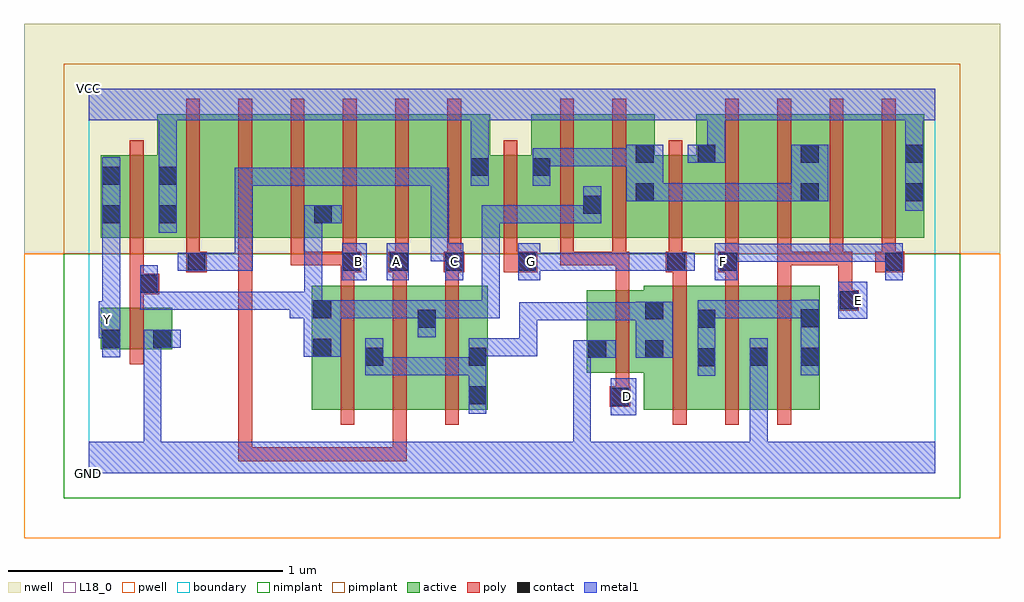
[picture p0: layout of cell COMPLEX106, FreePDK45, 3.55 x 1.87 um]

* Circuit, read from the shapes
.subckt COMPLEX106 A B C D E F G GND VCC Y
M1 GND n1 Y VSUBS nfet w=0.15u l=0.05u
M2 n2 B n1 VSUBS nfet w=0.45u l=0.05u
M3 n1 A n2 VSUBS nfet w=0.45u l=0.05u
M4 n2 C n1 VSUBS nfet w=0.45u l=0.05u
M5 n2 D GND VSUBS nfet w=0.3u l=0.05u
M6 n3 G n2 VSUBS nfet w=0.45u l=0.05u
M7 GND F n3 VSUBS nfet w=0.45u l=0.05u
M8 n3 E GND VSUBS nfet w=0.45u l=0.05u
M9 VCC n1 Y n4 pfet w=0.3u l=0.05u
M10 n5 C VCC n4 pfet w=0.45u l=0.05u
M11 n6 A n5 n4 pfet w=0.45u l=0.05u
M12 n1 B n6 n4 pfet w=0.45u l=0.05u
M13 n7 B n1 n4 pfet w=0.45u l=0.05u
M14 n8 A n7 n4 pfet w=0.45u l=0.05u
M15 VCC C n8 n4 pfet w=0.45u l=0.05u
M16 n9 G VCC n4 pfet w=0.3u l=0.05u m=2
M17 n1 D n9 n4 pfet w=0.45u l=0.05u m=2
M18 n10 F VCC n4 pfet w=0.45u l=0.05u
M19 n9 E n10 n4 pfet w=0.45u l=0.05u
M20 n11 E n9 n4 pfet w=0.45u l=0.05u
M21 VCC F n11 n4 pfet w=0.45u l=0.05u
.ends

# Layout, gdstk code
import gdstk
lib = gdstk.Library(unit=1e-6, precision=1e-09)
def R(c, l, rs):  # rectangles x0, y0, x1, y1
    for r in rs: c.add(gdstk.rectangle(r[:2], r[2:], *l))
def A(c, l, x, y, w, h, nx, ny, dx, dy):  # array of equal rectangles
    R(c, l, [(x+i*dx, y+j*dy, x+i*dx+w, y+j*dy+h) for i in range(nx) for j in range(ny)])
active = (1, 0)
pwell = (2, 0)
nwell = (3, 0)
nimplant = (4, 0)
pimplant = (5, 0)
poly = (9, 0)
contact = (10, 0)
metal1 = (11, 0)
L18_0 = (18, 0)
boundary = (235, 0)

complex106 = lib.new_cell('COMPLEX106')
R(complex106, active, [(0.812,0.232,1.077,0.682), (0.812,0.232,0.887,0.682), (1.002,0.232,1.267,0.682), (1.002,0.232,1.077,0.587), (1.192,0.232,1.452,0.682), (1.377,0.232,1.452,0.682), (2.02,0.232,2.285,0.682), (2.21,0.232,2.475,0.682), (2.21,0.232,2.285,0.682), (2.4,0.232,2.66,0.682), (2.4,0.257,2.475,0.547), (2.585,0.257,2.66,0.682), (2.02,0.29,2.095,0.63), (1.192,0.295,1.267,0.682), (1.812,0.367,2.095,0.667), (1.812,0.367,1.887,0.625), (0.045,0.452,0.12,0.602), (0.045,0.452,0.305,0.602), (0.23,0.452,0.305,0.602), (0.045,0.857,0.12,1.155), (0.045,0.857,0.325,1.157), (0.25,0.857,0.475,1.307), (0.25,0.857,0.325,1.155), (0.475,0.857,0.665,1.307), (0.665,0.857,0.89,1.307), (0.815,0.857,1.045,1.307), (0.815,0.857,0.89,1.07), (1.045,0.857,1.235,1.307), (1.235,0.857,1.46,1.307), (1.385,0.857,1.685,1.157), (1.385,0.857,1.46,1.155), (1.61,0.857,1.87,1.307), (1.61,0.857,1.685,1.2), (1.795,0.857,2.06,1.307), (1.795,0.857,1.87,1.07), (1.985,0.857,2.06,1.2), (1.985,0.857,2.285,1.157), (2.21,0.857,2.435,1.307), (2.435,0.857,2.66,1.307), (2.585,0.857,2.815,1.307), (2.585,0.857,2.66,1.2), (2.815,0.857,3.04,1.307), (2.965,0.857,3.04,1.307), (2.21,0.935,2.285,1.307)])
R(complex106, pwell, [(-0.235,-0.235,3.315,0.8)])
R(complex106, nwell, [(-0.235,0.8,3.315,1.635)])
R(complex106, nimplant, [(-0.09,-0.09,3.17,0.8)])
R(complex106, pimplant, [(-0.09,0.8,3.17,1.49)])
A(complex106, poly, 0.917, 0.177, 0.05, 0.56, 3, 1, 0.19, 0)
A(complex106, poly, 2.125, 0.177, 0.05, 0.56, 3, 1, 0.19, 0)
A(complex106, poly, 0.917, 0.687, 0.05, 0.095, 3, 1, 0.19, 0)
A(complex106, poly, 0.735, 0.757, 0.05, 0.095, 4, 1, 0.19, 0)
A(complex106, poly, 1.905, 0.757, 0.05, 0.095, 3, 1, 0.205, 0)
A(complex106, poly, 2.505, 0.757, 0.05, 0.095, 3, 1, 0.19, 0)
A(complex106, poly, 0.355, 0.802, 0.05, 0.56, 6, 1, 0.19, 0)
A(complex106, poly, 2.315, 0.802, 0.05, 0.56, 4, 1, 0.19, 0)
R(complex106, poly, [(0.545,0.045,0.595,0.095), (0.545,0.045,0.595,0.095), (0.545,0.045,0.595,0.095), (0.545,0.045,0.595,0.095), (0.545,0.045,0.595,0.095), (0.545,0.045,0.595,0.095), (0.545,0.045,0.595,0.095), (0.545,0.045,0.762,0.095), (0.545,0.045,0.595,0.852), (0.712,0.045,0.762,0.095), (0.712,0.045,0.762,0.095), (0.712,0.045,0.762,0.095), (0.712,0.045,0.762,0.095), (0.712,0.045,0.762,0.095), (0.712,0.045,0.762,0.095), (0.712,0.045,0.762,0.095), (0.712,0.045,0.762,0.095), (0.712,0.045,0.762,0.095), (0.712,0.045,0.985,0.095), (0.935,0.045,0.985,0.095), (0.935,0.045,1.157,0.095), (1.107,0.045,1.157,0.095), (1.107,0.045,1.157,0.095), (1.107,0.045,1.157,0.095), (1.107,0.045,1.157,0.227), (1.895,0.242,1.97,0.317), (1.917,0.267,1.967,0.362), (1.917,0.312,1.967,0.722), (0.15,0.397,0.2,0.657), (2.727,0.592,2.802,0.667), (0.15,0.607,0.2,0.702), (2.727,0.617,2.777,0.807), (0.15,0.652,0.257,0.727), (1.917,0.672,1.967,0.807), (0.15,0.677,0.2,0.852), (2.125,0.687,2.175,0.782), (2.315,0.687,2.365,0.782), (2.505,0.687,2.555,0.807), (0.355,0.732,0.43,0.807), (0.917,0.732,0.992,0.807), (1.09,0.732,1.165,0.807), (1.292,0.732,1.367,0.807), (1.51,0.732,1.632,0.807), (2.1,0.732,2.175,0.807), (2.29,0.732,2.365,0.807), (2.862,0.732,2.967,0.807), (0.355,0.757,0.405,0.852), (0.735,0.757,0.785,0.807), (0.735,0.757,0.785,0.807), (0.735,0.757,0.785,0.807), (0.735,0.757,0.967,0.807), (1.51,0.757,1.56,0.852), (1.715,0.757,1.765,0.852), (1.715,0.757,1.765,0.807), (1.715,0.757,1.955,0.807), (1.905,0.757,1.955,0.807), (1.905,0.757,1.955,0.807), (1.905,0.757,1.967,0.807), (2.505,0.757,2.555,0.807), (2.505,0.757,2.555,0.807), (2.505,0.757,2.555,0.807), (2.505,0.757,2.745,0.807), (2.695,0.757,2.777,0.807), (2.727,0.757,2.777,0.807), (2.727,0.757,2.777,0.807), (0.15,0.802,0.2,1.212), (1.51,0.802,1.56,1.212), (1.715,0.802,1.765,1.362), (1.905,0.802,1.955,1.362), (2.11,0.802,2.16,1.212)])
R(complex106, contact, [(1.9,0.247,1.965,0.312), (1.382,0.252,1.447,0.317), (2.215,0.39,2.28,0.455), (1.007,0.392,1.072,0.457), (1.382,0.392,1.447,0.457), (2.405,0.392,2.47,0.457), (2.59,0.392,2.655,0.457), (1.817,0.42,1.882,0.485), (2.025,0.42,2.09,0.485), (0.817,0.425,0.882,0.49), (0.05,0.457,0.115,0.522), (0.235,0.457,0.3,0.522), (1.197,0.53,1.262,0.595), (2.215,0.53,2.28,0.595), (2.59,0.532,2.655,0.597), (2.025,0.56,2.09,0.625), (0.817,0.565,0.882,0.63), (2.732,0.597,2.797,0.662), (0.187,0.657,0.252,0.722), (0.36,0.737,0.425,0.802), (0.922,0.737,0.987,0.802), (1.095,0.737,1.16,0.802), (1.297,0.737,1.362,0.802), (1.562,0.737,1.627,0.802), (2.105,0.737,2.17,0.802), (2.295,0.737,2.36,0.802), (2.897,0.737,2.962,0.802), (0.05,0.91,0.115,0.975), (0.255,0.91,0.32,0.975), (0.82,0.91,0.885,0.975), (1.8,0.945,1.865,1.01), (1.99,0.99,2.055,1.055), (2.59,0.99,2.655,1.055), (2.97,0.99,3.035,1.055), (0.05,1.05,0.115,1.115), (0.255,1.05,0.32,1.115), (1.39,1.082,1.455,1.147), (1.615,1.082,1.68,1.147), (1.99,1.13,2.055,1.195), (2.215,1.13,2.28,1.195), (2.59,1.13,2.655,1.195), (2.97,1.13,3.035,1.195)])
R(complex106, metal1, [(0,0,3.08,0.115), (0.2,0.05,0.265,0.115), (0.2,0.05,0.265,0.115), (0.2,0.05,0.265,0.145), (1.762,0.05,1.827,0.115), (1.762,0.05,1.827,0.115), (1.762,0.05,1.827,0.485), (2.405,0.05,2.47,0.115), (2.405,0.05,2.47,0.115), (2.405,0.05,2.47,0.422), (0.2,0.08,0.265,0.145), (0.2,0.08,0.265,0.522), (1.9,0.212,1.992,0.347), (1.382,0.217,1.447,0.492), (2.215,0.355,2.28,0.63), (1.007,0.357,1.072,0.492), (1.007,0.357,1.21,0.422), (1.145,0.357,1.21,0.422), (1.145,0.357,1.21,0.422), (1.145,0.357,1.21,0.422), (1.145,0.357,1.447,0.422), (1.382,0.357,1.447,0.422), (1.382,0.357,1.447,0.422), (2.405,0.357,2.47,0.492), (2.405,0.357,2.47,0.422), (2.405,0.357,2.47,0.422), (2.59,0.357,2.655,0.632), (1.762,0.42,1.827,0.485), (1.762,0.42,1.827,0.485), (1.762,0.42,1.827,0.485), (1.762,0.42,1.827,0.485), (1.762,0.42,1.917,0.485), (1.99,0.42,2.125,0.625), (0.05,0.422,0.115,0.557), (0.782,0.425,0.917,0.63), (1.382,0.427,1.632,0.492), (1.567,0.427,1.632,0.492), (1.567,0.427,1.632,0.492), (1.567,0.427,1.632,0.492), (1.567,0.427,1.632,0.622), (0.2,0.457,0.265,0.522), (0.2,0.457,0.265,0.522), (0.2,0.457,0.265,0.522), (0.2,0.457,0.265,0.522), (0.2,0.457,0.335,0.522), (0.037,0.492,0.115,0.627), (0.05,0.492,0.115,0.557), (1.197,0.495,1.262,0.63), (1.567,0.557,1.632,0.622), (1.567,0.557,1.817,0.622), (1.752,0.557,1.817,0.622), (1.752,0.557,1.817,0.622), (1.752,0.557,1.817,0.622), (1.752,0.557,1.965,0.622), (1.9,0.557,1.965,0.622), (1.9,0.557,2.055,0.622), (0.05,0.562,0.115,0.94), (2.727,0.562,2.832,0.697), (0.732,0.565,0.847,0.63), (0.732,0.565,0.797,0.66), (0.785,0.565,0.85,0.63), (0.785,0.565,0.85,0.63), (0.785,0.565,0.85,0.975), (0.852,0.565,0.935,0.63), (0.87,0.565,0.935,0.63), (0.87,0.565,1.055,0.63), (0.99,0.565,1.055,0.63), (0.99,0.565,1.15,0.63), (1.085,0.565,1.15,0.63), (1.085,0.565,1.262,0.63), (1.197,0.565,1.447,0.63), (1.382,0.565,1.447,0.63), (1.382,0.565,1.495,0.63), (1.43,0.565,1.495,0.63), (1.43,0.565,1.495,0.63), (1.43,0.565,1.495,0.63), (1.43,0.565,1.495,0.975), (2.215,0.565,2.44,0.63), (2.375,0.565,2.44,0.63), (2.375,0.565,2.482,0.63), (2.417,0.565,2.482,0.63), (2.417,0.565,2.655,0.63), (2.59,0.565,2.655,0.63), (2.59,0.565,2.655,0.63), (0.187,0.595,0.252,0.66), (0.187,0.595,0.46,0.66), (0.187,0.595,0.252,0.687), (0.395,0.595,0.46,0.66), (0.395,0.595,0.46,0.66), (0.395,0.595,0.46,0.66), (0.395,0.595,0.597,0.66), (0.532,0.595,0.597,0.66), (0.532,0.595,0.597,0.66), (0.532,0.595,0.597,0.66), (0.532,0.595,0.797,0.66), (0.187,0.622,0.252,0.757), (0.187,0.622,0.252,0.687), (0.187,0.622,0.252,0.687), (0.922,0.702,1.012,0.837), (1.085,0.702,1.165,0.837), (1.297,0.702,1.362,0.837), (1.562,0.702,1.642,0.837), (2.277,0.702,2.36,0.837), (2.897,0.702,2.962,0.837), (0.325,0.737,0.46,0.802), (0.395,0.737,0.46,0.802), (0.395,0.737,0.46,0.802), (0.395,0.737,0.46,0.802), (0.395,0.737,0.46,0.802), (0.395,0.737,0.597,0.802), (0.532,0.737,0.597,0.802), (0.532,0.737,0.597,0.802), (0.532,0.737,0.597,0.802), (0.532,0.737,0.597,1.112), (1.577,0.737,1.642,0.802), (1.577,0.737,1.642,0.802), (1.577,0.737,1.827,0.802), (1.762,0.737,1.997,0.802), (1.762,0.737,1.827,0.802), (1.762,0.737,1.827,0.802), (1.762,0.737,1.827,0.802), (1.932,0.737,1.997,0.802), (1.932,0.737,1.997,0.802), (1.932,0.737,1.997,0.802), (1.932,0.737,2.135,0.802), (2.07,0.737,2.205,0.802), (2.295,0.77,2.417,0.835), (2.352,0.77,2.417,0.835), (2.352,0.77,2.637,0.835), (2.572,0.77,2.637,0.835), (2.572,0.77,2.637,0.835), (2.572,0.77,2.637,0.835), (2.572,0.77,2.792,0.835), (2.727,0.77,2.962,0.835), (2.727,0.77,2.792,0.835), (2.727,0.77,2.792,0.835), (2.727,0.77,2.792,0.835), (1.245,0.772,1.31,0.837), (1.245,0.772,1.362,0.837), (1.245,0.772,1.31,1.112), (0.05,0.875,0.115,1.15), (0.255,0.875,0.32,1.15), (0.785,0.91,0.92,0.975), (1.43,0.91,1.495,0.975), (1.43,0.91,1.632,0.975), (1.567,0.91,1.632,0.975), (1.567,0.91,1.632,0.975), (1.567,0.91,1.632,0.975), (1.567,0.91,1.78,0.975), (1.715,0.91,1.78,0.975), (1.715,0.91,1.865,0.975), (1.8,0.91,1.865,1.045), (2.97,0.955,3.035,1.23), (1.955,0.99,2.09,1.195), (2.025,0.99,2.09,1.055), (2.025,0.99,2.09,1.055), (2.025,0.99,2.142,1.055), (2.077,0.99,2.142,1.055), (2.077,0.99,2.28,1.055), (2.215,0.99,2.28,1.055), (2.215,0.99,2.28,1.055), (2.215,0.99,2.28,1.055), (2.215,0.99,2.417,1.055), (2.352,0.99,2.417,1.055), (2.352,0.99,2.62,1.055), (2.555,0.99,2.62,1.055), (2.555,0.99,2.62,1.055), (2.555,0.99,2.69,1.195), (0.532,1.047,0.597,1.112), (0.532,1.047,0.735,1.112), (0.67,1.047,0.735,1.112), (0.67,1.047,0.735,1.112), (0.67,1.047,0.735,1.112), (0.67,1.047,0.935,1.112), (0.87,1.047,0.935,1.112), (0.87,1.047,1.072,1.112), (1.007,1.047,1.072,1.112), (1.007,1.047,1.072,1.112), (1.007,1.047,1.072,1.112), (1.007,1.047,1.072,1.112), (1.007,1.047,1.072,1.112), (1.007,1.047,1.31,1.112), (1.245,1.047,1.31,1.112), (1.39,1.047,1.455,1.182), (1.615,1.047,1.68,1.182), (0.255,1.085,0.32,1.35), (1.39,1.117,1.455,1.35), (1.615,1.117,1.817,1.182), (1.752,1.117,1.817,1.182), (1.752,1.117,1.817,1.182), (1.752,1.117,1.817,1.182), (1.752,1.117,1.965,1.182), (1.9,1.117,1.965,1.182), (1.9,1.117,2.02,1.182), (2.18,1.13,2.315,1.195), (2.25,1.13,2.315,1.35), (2.97,1.165,3.035,1.35), (0,1.285,3.08,1.4)])
R(complex106, L18_0, [(0,0,3.08,0.115), (0.2,0.05,0.265,0.115), (0.2,0.05,0.265,0.115), (0.2,0.05,0.265,0.145), (1.762,0.05,1.827,0.115), (1.762,0.05,1.827,0.115), (1.762,0.05,1.827,0.485), (2.405,0.05,2.47,0.115), (2.405,0.05,2.47,0.115), (2.405,0.05,2.47,0.422), (0.2,0.08,0.265,0.145), (0.2,0.08,0.265,0.522), (1.9,0.212,1.992,0.347), (1.927,0.247,1.992,0.312), (2.405,0.357,2.47,0.492), (2.405,0.357,2.47,0.422), (2.405,0.357,2.47,0.422), (1.762,0.42,1.827,0.485), (1.762,0.42,1.827,0.485), (1.762,0.42,1.827,0.485), (1.762,0.42,1.827,0.485), (1.762,0.42,1.917,0.485), (0.05,0.422,0.115,0.557), (0.2,0.457,0.265,0.522), (0.2,0.457,0.265,0.522), (0.2,0.457,0.265,0.522), (0.2,0.457,0.265,0.522), (0.2,0.457,0.335,0.522), (0.037,0.492,0.115,0.627), (0.05,0.492,0.115,0.557), (0.037,0.527,0.102,0.592), (0.05,0.562,0.115,0.94), (2.727,0.562,2.832,0.697), (2.767,0.597,2.832,0.662), (0.922,0.702,1.012,0.837), (1.085,0.702,1.165,0.837), (1.297,0.702,1.362,0.837), (1.562,0.702,1.642,0.837), (2.277,0.702,2.36,0.837), (2.897,0.702,2.962,0.837), (0.325,0.737,0.46,0.802), (0.395,0.737,0.46,0.802), (0.395,0.737,0.46,0.802), (0.395,0.737,0.46,0.802), (0.395,0.737,0.46,0.802), (0.395,0.737,0.597,0.802), (0.532,0.737,0.597,0.802), (0.532,0.737,0.597,0.802), (0.532,0.737,0.597,0.802), (0.532,0.737,0.597,1.112), (0.947,0.737,1.012,0.802), (1.087,0.737,1.152,0.802), (1.297,0.737,1.362,0.802), (1.577,0.737,1.642,0.802), (1.577,0.737,1.642,0.802), (1.577,0.737,1.642,0.802), (1.577,0.737,1.827,0.802), (1.762,0.737,1.827,0.802), (1.762,0.737,1.827,0.802), (1.762,0.737,1.827,0.802), (1.762,0.737,1.997,0.802), (1.932,0.737,1.997,0.802), (1.932,0.737,1.997,0.802), (1.932,0.737,1.997,0.802), (1.932,0.737,2.135,0.802), (2.07,0.737,2.205,0.802), (2.277,0.737,2.342,0.802), (2.295,0.77,2.417,0.835), (2.352,0.77,2.417,0.835), (2.352,0.77,2.637,0.835), (2.572,0.77,2.637,0.835), (2.572,0.77,2.637,0.835), (2.572,0.77,2.637,0.835), (2.572,0.77,2.792,0.835), (2.727,0.77,2.792,0.835), (2.727,0.77,2.792,0.835), (2.727,0.77,2.792,0.835), (2.727,0.77,2.962,0.835), (1.245,0.772,1.31,0.837), (1.245,0.772,1.31,1.112), (1.245,0.772,1.362,0.837), (0.05,0.875,0.115,1.15), (0.255,0.875,0.32,1.15), (2.97,0.955,3.035,1.23), (0.532,1.047,0.597,1.112), (0.532,1.047,0.735,1.112), (0.67,1.047,0.735,1.112), (0.67,1.047,0.735,1.112), (0.67,1.047,0.735,1.112), (0.67,1.047,0.935,1.112), (0.87,1.047,0.935,1.112), (0.87,1.047,1.072,1.112), (1.007,1.047,1.072,1.112), (1.007,1.047,1.072,1.112), (1.007,1.047,1.072,1.112), (1.007,1.047,1.072,1.112), (1.007,1.047,1.072,1.112), (1.007,1.047,1.31,1.112), (1.245,1.047,1.31,1.112), (1.39,1.047,1.455,1.182), (0.255,1.085,0.32,1.35), (1.39,1.117,1.455,1.35), (2.18,1.13,2.315,1.195), (2.25,1.13,2.315,1.35), (2.97,1.165,3.035,1.35), (0,1.285,3.08,1.4)])
R(complex106, boundary, [(0,0,3.08,1.4)])
complex106.add(gdstk.Label('A', (1.12,0.77), layer=11, texttype=0))
complex106.add(gdstk.Label('B', (0.98,0.77), layer=11, texttype=0))
complex106.add(gdstk.Label('C', (1.33,0.77), layer=11, texttype=0))
complex106.add(gdstk.Label('D', (1.96,0.28), layer=11, texttype=0))
complex106.add(gdstk.Label('E', (2.8,0.63), layer=11, texttype=0))
complex106.add(gdstk.Label('F', (2.31,0.77), layer=11, texttype=0))
complex106.add(gdstk.Label('G', (1.61,0.77), layer=11, texttype=0))
complex106.add(gdstk.Label('Y', (0.07,0.56), layer=11, texttype=0))
complex106.add(gdstk.Label('VCC', (0,1.4), layer=11, texttype=0))
complex106.add(gdstk.Label('GND', (0,0), layer=11, texttype=0))

lib.write_gds('COMPLEX106.gds')
